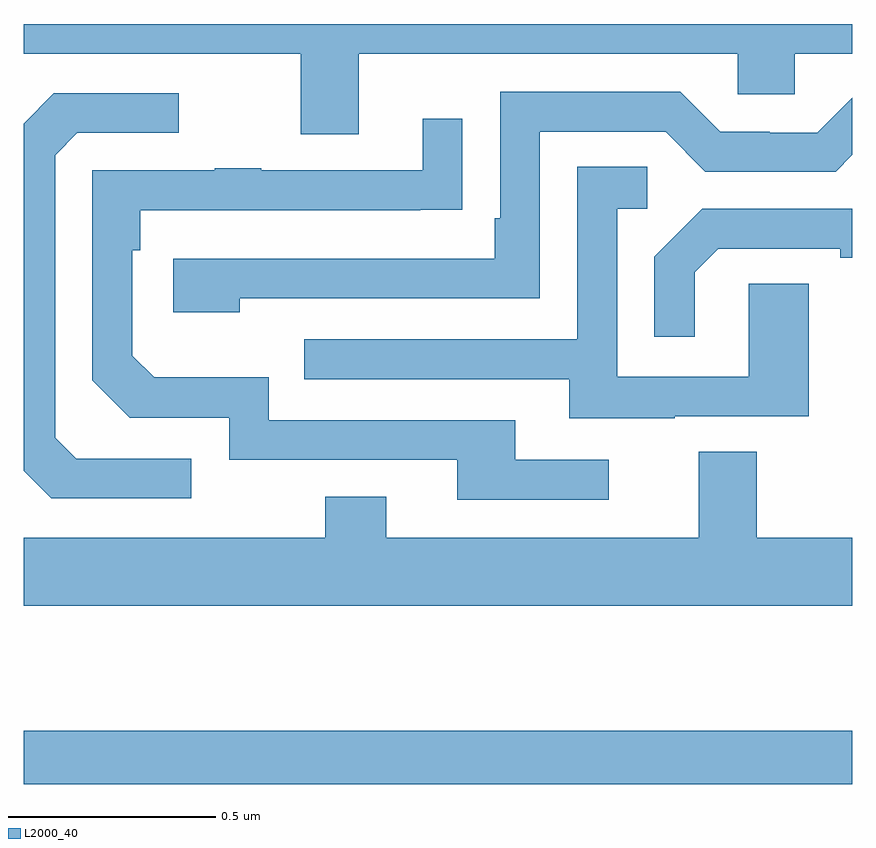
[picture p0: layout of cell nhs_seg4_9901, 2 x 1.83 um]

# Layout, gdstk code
import gdstk
lib = gdstk.Library(unit=1e-6, precision=1e-09)
def R(c, l, rs):  # rectangles x0, y0, x1, y1
    for r in rs: c.add(gdstk.rectangle(r[:2], r[2:], *l))
def P(c, l, *ps):  # polygons
    for p in ps: c.add(gdstk.Polygon(p, *l))
L2000_40 = (2000, 40)

nhs_seg4_9901 = lib.new_cell('nhs_seg4_9901')
R(nhs_seg4_9901, L2000_40, [(233,787.066,235,787.195)])
P(nhs_seg4_9901, L2000_40, [(233.809,788.828),(234.723,788.828),(234.723,788.73),(234.861,788.73),(234.861,788.828),(235,788.828),(235,788.9),(233,788.9),(233,788.828),(233.669,788.828),(233.669,788.634),(233.809,788.634)],
  [(233.522,788.238),(234.246,788.238),(234.246,788.64),(234.549,788.64),(234.645,788.544),(234.96,788.544),(235,788.584),(235,788.722),(234.915,788.637),(234.8,788.637),(234.8,788.64),(234.681,788.64),(234.585,788.736),(234.15,788.736),(234.15,788.431),(234.137,788.431),(234.137,788.334),(233.361,788.334),(233.361,788.204),(233.522,788.204)],
  [(233.404,787.851),(233.127,787.851),(233.076,787.902),(233.076,788.583),(233.13,788.637),(233.374,788.637),(233.374,788.733),(233.073,788.733),(233,788.659),(233,787.822),(233.067,787.755),(233.404,787.755)],
  [(234.412,787.848),(234.187,787.848),(234.187,787.944),(233.592,787.944),(233.592,788.047),(233.315,788.047),(233.262,788.1),(233.262,788.354),(233.282,788.354),(233.282,788.451),(233.957,788.451),(233.957,788.452),(234.059,788.452),(234.059,788.671),(233.963,788.671),(233.963,788.547),(233.573,788.547),(233.573,788.552),(233.461,788.552),(233.461,788.547),(233.166,788.547),(233.166,788.04),(233.256,787.95),(233.496,787.95),(233.496,787.848),(234.047,787.848),(234.047,787.752),(234.412,787.752)],
  [(234.571,787.953),(234.895,787.953),(234.895,788.273),(234.75,788.273),(234.75,788.049),(234.432,788.049),(234.432,788.454),(234.505,788.454),(234.505,788.555),(234.336,788.555),(234.336,788.139),(233.677,788.139),(233.677,788.043),(234.317,788.043),(234.317,787.949),(234.571,787.949)],
  [(234.619,788.301),(234.676,788.358),(234.971,788.358),(234.971,788.336),(235,788.336),(235,788.454),(234.638,788.454),(234.522,788.338),(234.522,788.145),(234.619,788.145)],
  [(235,787.66),(234.769,787.66),(234.769,787.868),(234.629,787.868),(234.629,787.66),(233.875,787.66),(233.875,787.759),(233.728,787.759),(233.728,787.66),(233,787.66),(233,787.496),(235,787.496)])

lib.write_gds('nhs_seg4_9901.gds')
